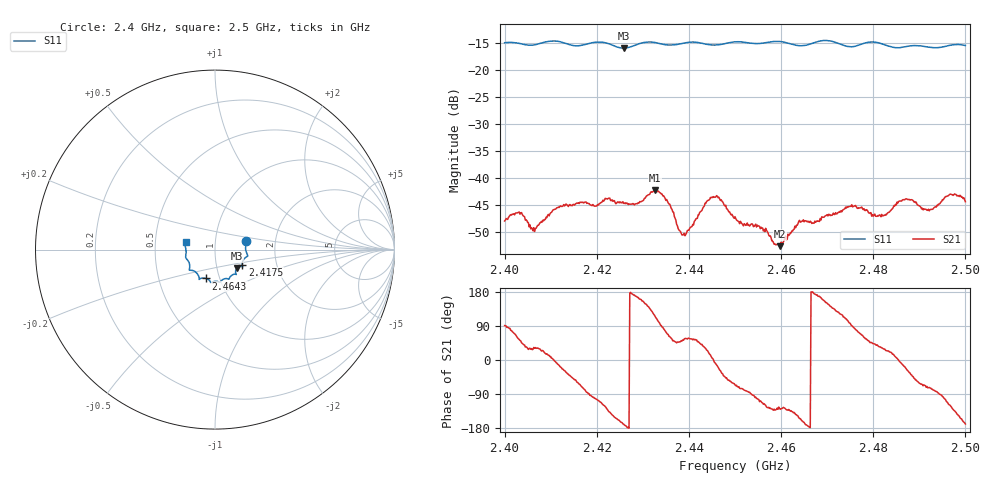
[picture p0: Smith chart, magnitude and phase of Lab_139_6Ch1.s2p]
# Hz S RI R 50
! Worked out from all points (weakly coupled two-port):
!   601 points, 2.4 GHz to 2.5 GHz, reference 50 ohm
!   highest |S21| = -42.19 dB at 2.4327 GHz (marker M1); lowest = -52.6 dB at 2.4597 GHz (marker M2)
!   lowest |S11| = -15.9 dB at 2.4258 GHz (marker M3), VSWR 1.38, Z = 62.3 - j13.2 ohm
!   |S11| at or under -10 dB: start of sweep to end of sweep
!   S12 and S22 are empty: the file has one direction only
!   S11 on the Smith chart (normalised r, x): 2.4 GHz: 1.41, +0.14; 2.4175 GHz: 1.33, -0.23; 2.4643 GHz: 0.86, -0.29; 2.5 GHz: 0.72, +0.06
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2.4e9  0.173 0.0488  -5.08e-05 0.004  0 0  0 0
2.403333e9  0.1737 0.0315  0.00289 0.00362  0 0  0 0
2.4065e9  0.1716 -0.00411  0.00275 0.00164  0 0  0 0
2.411e9  0.183 -0.035  0.00514 -0.000352  0 0  0 0
2.416667e9  0.1528 -0.0742  0.00208 -0.00561  0 0  0 0
2.4175e9  0.1516 -0.0835  0.00107 -0.0059  0 0  0 0
2.425833e9  0.1221 -0.1034  -0.00573 -0.00108  0 0  0 0
2.432667e9  0.1162 -0.1377  -0.00329 0.00705  0 0  0 0
2.433333e9  0.1131 -0.137  -0.0016 0.00741  0 0  0 0
2.435667e9  0.0973 -0.1408  0.00265 0.00511  0 0  0 0
2.438833e9  0.0805 -0.1586  0.00183 0.00236  0 0  0 0
2.445167e9  0.0546 -0.1621  0.00658 0.000443  0 0  0 0
2.45e9  0.0289 -0.1809  0.00181 -0.004  0 0  0 0
2.459667e9  -0.0237 -0.183  -0.00144 -0.00184  0 0  0 0
2.464333e9  -0.0497 -0.161  -0.00363 -0.0015  0 0  0 0
2.466667e9  -0.0757 -0.1595  -0.0038 4.95e-05  0 0  0 0
2.474833e9  -0.1045 -0.1278  -0.000725 0.0054  0 0  0 0
2.483333e9  -0.1409 -0.0903  0.00439 0.00194  0 0  0 0
2.486833e9  -0.1542 -0.0568  0.00599 -0.00192  0 0  0 0
2.492e9  -0.1617 -0.0254  0.00151 -0.00492  0 0  0 0
2.496667e9  -0.1681 0.0248  -0.00346 -0.00619  0 0  0 0
2.5e9  -0.1638 0.0426  -0.00592 -0.00118  0 0  0 0
